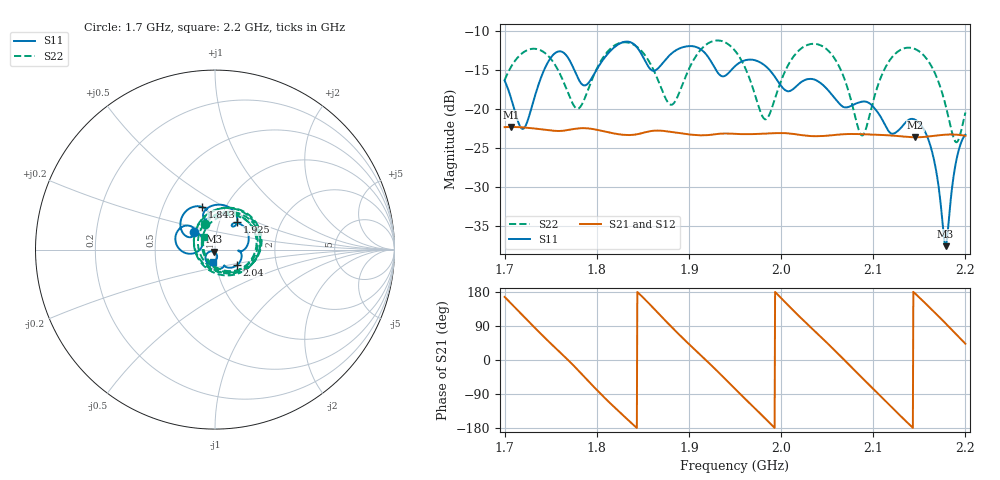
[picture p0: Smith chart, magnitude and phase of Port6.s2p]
# Hz S RI R 50
! CMT, CMT808U, 21440046, 21.4.3/4
! Date: 4/9/2026 1:45:10 AM
! Data: Format (Calibration Info)
! Freq	S11:Re/Im(F2)	S41:Re/Im(F2)	S14:Re/Im(F2)	S44:Re/Im(F2)
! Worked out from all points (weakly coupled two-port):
!   1001 points, 1.7 GHz to 2.2 GHz, reference 50 ohm
!   highest |S21| = -22.34 dB at 1.707 GHz (marker M1); lowest = -23.7 dB at 2.146 GHz (marker M2)
!   lowest |S11| = -37.7 dB at 2.179 GHz (marker M3), VSWR 1.03, Z = 49.4 - j1.18 ohm
!   |S11| at or under -10 dB: start of sweep to end of sweep
!   |S22| runs from -24.3 to -11.2 dB; largest |S21 - S12| = 0.0011
!   S11 on the Smith chart (normalised r, x): 1.7 GHz: 0.78, +0.15; 1.843 GHz: 0.78, +0.40; 1.925 GHz: 1.21, +0.39; 2.04 GHz: 1.26, -0.22; 2.2 GHz: 0.96, -0.13
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1.7e9  -0.1161 0.0973  -0.074 0.0177  -0.074 0.0168  -0.0555 0.142
1.707e9  -0.0829 0.0821  -0.0655 0.0392  -0.0657 0.0383  -0.00407 0.1855
1.721e9  -0.0728 0.0171  -0.0309 0.0692  -0.0316 0.0685  0.1291 0.1918
1.7425e9  -0.1745 -0.0149  0.0351 0.0644  0.0342 0.0645  0.23 0.0169
1.762e9  -0.2062 0.1064  0.0693 0.0198  0.0687 0.0205  0.0957 -0.1257
1.7835e9  -0.1106 0.0924  0.0601 -0.0448  0.0605 -0.0438  -0.1036 -0.0197
1.814e9  -0.1923 0.1299  -0.0272 -0.0648  -0.0263 -0.0649  0.0608 0.2323
1.8435e9  -0.0712 0.2378  -0.0684 -0.000696  -0.0682 -0.00153  0.2496 0.00577
1.867e9  -0.0605 0.1723  -0.0391 0.0609  -0.0397 0.0601  0.0455 -0.1426
1.8925e9  -0.00828 0.2468  0.035 0.0599  0.0341 0.0602  -0.1139 0.0821
1.925e9  0.1232 0.1526  0.0656 -0.0183  0.0657 -0.0173  0.1849 0.1968
1.95e9  0.1134 0.149  0.0163 -0.0669  0.0172 -0.0666  0.2297 -0.0517
1.983e9  0.1845 0.0353  -0.0627 -0.0293  -0.0621 -0.0301  -0.0754 -0.0402
2.0335e9  0.1401 -0.0664  0.00803 0.0662  0.00707 0.0662  0.2277 0.1264
2.04e9  0.1219 -0.0872  0.0248 0.0618  0.0239 0.0621  0.25 0.0655
2.0875e9  0.035 -0.1051  0.0476 -0.0494  0.0482 -0.0487  -0.0608 -0.029
2.117e9  -0.0123 -0.0703  -0.031 -0.0599  -0.0301 -0.0602  0.0619 0.191
2.1455e9  -0.0392 -0.0752  -0.0653 0.00542  -0.0653 0.00446  0.2387 0.0348
2.164e9  -0.0465 -0.0243  -0.0447 0.0494  -0.0454 0.0488  0.1502 -0.1052
2.1785e9  -0.00544 -0.0119  -0.00795 0.0676  -0.00888 0.0674  0.0161 -0.1038
2.1895e9  0.0115 -0.0429  0.0244 0.0636  0.0234 0.0639  -0.0547 -0.0273
2.2e9  -0.0138 -0.0666  0.049 0.0456  0.0483 0.0463  -0.0605 0.0726
